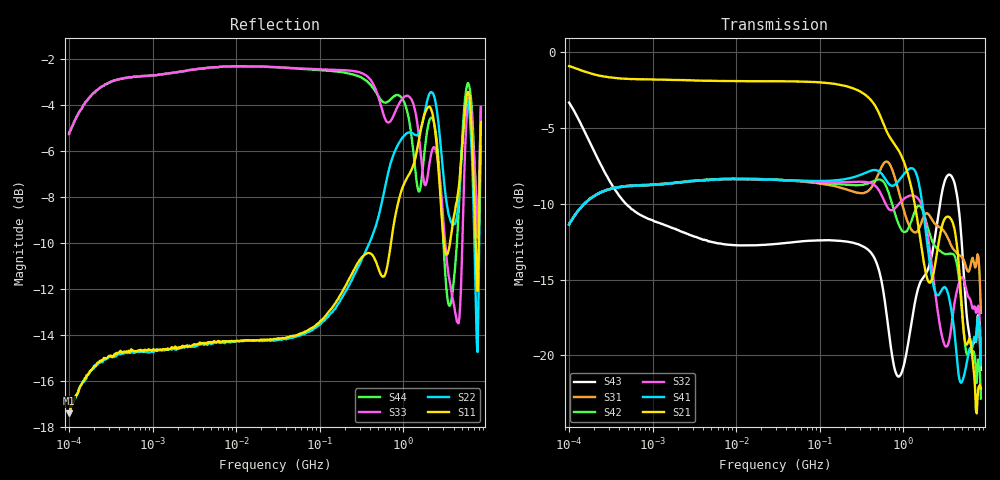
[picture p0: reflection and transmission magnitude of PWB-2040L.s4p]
# MHz S MA R 50
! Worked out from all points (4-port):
!   498 points, 100 kHz to 8.5 GHz, reference 50 ohm
!   strongest paths, dB at 100 kHz, 1.698 MHz, 29.49 MHz, 500.7 MHz, 8.5 GHz:
!     S21: -0.9, -1.8, -1.9, -3.9, -22.2
!     S41: -11.4, -8.6, -8.4, -7.8, -20.6
!     S32: -11.3, -8.7, -8.4, -9.0, -19.8
!     S42: -11.3, -8.6, -8.4, -8.4, -22.9
!     S31: -11.4, -8.6, -8.4, -8.1, -17.2
!     S43: -3.3, -11.6, -12.7, -14.2, -21.0
!   lowest |S11| = -17.4 dB at 100 kHz (marker M1), VSWR 1.31, Z = 60 + j11 ohm
!   |S11| at or under -10 dB: start of sweep to 712.9 MHz; 3.075 GHz to 3.627 GHz (551.9 MHz wide, 16.5 % of centre); 7.379 GHz to 7.999 GHz (619.7 MHz wide, 8.06 % of centre)
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0.1  0.1347 41.9  0.9001 -5.8  0.2706 42.3  0.2697 -137.8
     0.9001 -5.8  0.1356 44.9  0.2709 -138.2  0.2715 41.6
     0.2706 42.3  0.2709 -138.2  0.5447 40.6  0.6825 -31.6
     0.2697 -137.8  0.2715 41.6  0.6825 -31.6  0.5487 40.6
163.5102  0.2377 4.8  0.7842 -31.7  0.3599 -18.3  0.3786 138.6
          0.7842 -31.7  0.2317 7.1  0.3724 139.7  0.3675 -18.8
          0.3599 -18.3  0.3724 139.7  0.7515 -19.0  0.2389 -36.7
          0.3786 138.6  0.3675 -18.8  0.2389 -36.7  0.7453 -19.9
906.6107  0.3986 -63.5  0.4676 -159.5  0.3385 -103.6  0.3804 -19.4
          0.4676 -159.5  0.5247 -70.3  0.3185 -8.1  0.266 -101.5
          0.3385 -103.6  0.3185 -8.1  0.6382 -97.5  0.08546 124.8
          0.3804 -19.4  0.266 -101.5  0.08546 124.8  0.6603 -105.7
2260.241  0.5995 -172.8  0.1824 -80.3  0.2776 147.5  0.1738 140.2
          0.1824 -80.3  0.6696 -172.7  0.1855 144.4  0.2359 131.6
          0.2776 147.5  0.1855 144.4  0.5077 -173.7  0.2226 -118.0
          0.1738 140.2  0.2359 131.6  0.2226 -118.0  0.5879 -174.3
4588.001  0.4127 -22.1  0.2036 -64.5  0.2147 -62.6  0.08689 -73.2
          0.2036 -64.5  0.3902 -37.6  0.1712 -38.8  0.1846 -103.9
          0.2147 -62.6  0.1712 -38.8  0.2112 -52.0  0.3101 -59.8
          0.08689 -73.2  0.1846 -103.9  0.3101 -59.8  0.3644 -14.7
7080.634  0.3985 -172.4  0.08553 71.6  0.2006 45.9  0.1152 79.4
          0.08553 71.6  0.3307 -179.9  0.1452 62.5  0.1013 13.8
          0.2006 45.9  0.1452 62.5  0.4848 -162.9  0.1118 85.7
          0.1152 79.4  0.1013 13.8  0.1118 85.7  0.4841 -172.0
8500  0.579 -35.9  0.07774 -59.0  0.1381 -114.8  0.09282 -94.6
      0.07774 -59.0  0.5123 -41.3  0.1027 -111.0  0.07198 -121.2
      0.1381 -114.8  0.1027 -111.0  0.6243 -30.0  0.08953 -88.3
      0.09282 -94.6  0.07198 -121.2  0.08953 -88.3  0.6231 -37.0
